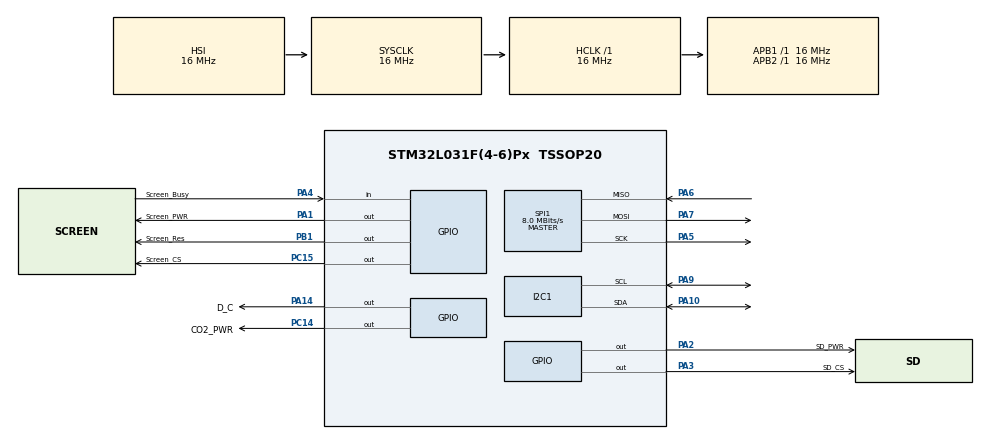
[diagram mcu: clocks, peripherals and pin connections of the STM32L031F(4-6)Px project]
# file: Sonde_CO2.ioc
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I2C1.Timing=0x00303D5B
Mcu.Family=STM32L0
Mcu.Name=STM32L031F(4-6)Px
Mcu.Package=TSSOP20
NVIC.RTC_IRQn=true\:0\:0\:false\:false\:true\:true\:true\:true
PA1.GPIO_Label=Screen_PWR
PA1.PinState=GPIO_PIN_SET
PA1.Signal=GPIO_Output
PA10.GPIO_Pu=GPIO_NOPULL
PA10.Mode=I2C
PA10.Signal=I2C1_SDA
PA14.GPIO_Label=D_C
PA14.PinState=GPIO_PIN_RESET
PA14.Signal=GPIO_Output
PA14.Stacked=true
PA2.GPIO_Label=SD_PWR
PA2.PinState=GPIO_PIN_SET
PA2.Signal=GPIO_Output
PA3.GPIO_Label=SD_CS
PA3.Signal=GPIO_Output
PA4.GPIO_Label=Screen_Busy
PA4.GPIO_PuPd=GPIO_PULLUP
PA4.Signal=GPIO_Input
PA5.Mode=Full_Duplex_Master
PA5.Signal=SPI1_SCK
PA6.Mode=Full_Duplex_Master
PA6.Signal=SPI1_MISO
PA7.Mode=Full_Duplex_Master
PA7.Signal=SPI1_MOSI
PA9.GPIO_Pu=GPIO_NOPULL
PA9.Mode=I2C
PA9.Signal=I2C1_SCL
PB1.GPIO_Label=Screen_Res
PB1.PinState=GPIO_PIN_RESET
PB1.Signal=GPIO_Output
PC14-OSC32_IN.GPIO_Label=CO2_PWR
PC14-OSC32_IN.GPIO_ModeDefaultOutputPP=GPIO_MODE_OUTPUT_PP
PC14-OSC32_IN.GPIO_PuPd=GPIO_NOPULL
PC14-OSC32_IN.PinState=GPIO_PIN_SET
PC14-OSC32_IN.Signal=GPIO_Output
PC15-OSC32_OUT.GPIO_Label=Screen_CS
PC15-OSC32_OUT.Signal=GPIO_Output
ProjectManager.HeapSize=0x200
ProjectManager.StackSize=0x400
ProjectManager.TargetToolchain=STM32CubeIDE
RCC.AHBFreq_Value=16000000
RCC.APB1Freq_Value=16000000
RCC.APB1TimFreq_Value=16000000
RCC.APB2Freq_Value=16000000
RCC.APB2TimFreq_Value=16000000
RCC.HCLKFreq_Value=16000000
RCC.HSE_VALUE=8000000
RCC.HSI16_VALUE=16000000
RCC.HSI_VALUE=16000000
RCC.LSE_VALUE=32768
RCC.MSIClockRange=RCC_MSIRANGE_6
RCC.MSI_VALUE=4194000
RCC.PLLDIV=RCC_PLLDIV_4
RCC.PLLMUL=RCC_PLLMUL_32
RCC.SYSCLKFreq_VALUE=16000000
RCC.SYSCLKSource=RCC_SYSCLKSOURCE_HSI
RCC.VCOOutputFreq_Value=512000000
RTC.WakeUpClock-WakeUp=RTC_WAKEUPCLOCK_CK_SPRE_16BITS
RTC.WakeUpCounter-WakeUp=5
SPI1.BaudRatePrescaler=SPI_BAUDRATEPRESCALER_2
SPI1.CalculateBaudRate=8.0 MBits/s
SPI1.Direction=SPI_DIRECTION_2LINES
SPI1.Mode=SPI_MODE_MASTER
SPI1.VirtualType=VM_MASTER
VP_RTC_VS_RTC_Activate.Mode=RTC_Enabled
VP_RTC_VS_RTC_WakeUp_intern.Mode=WakeUp
board=custom

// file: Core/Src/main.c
/* USER CODE BEGIN Header */
/**
  ******************************************************************************
  * @file           : main.c
  * @brief          : Main program body
  ******************************************************************************
  * @attention
  *
  * Copyright (c) 2024 STMicroelectronics.
  * All rights reserved.
  *
  * This software is licensed under terms that can be found in the LICENSE file
  * in the root directory of this software component.
  * If no LICENSE file comes with this software, it is provided AS-IS.
  *
  ******************************************************************************
  */

#include "Display_EPD_W21.h"
#include "Ap_29demo.h"
#include "Static_ressources.h"
#include "CO2_probe.h"
#include "fonts.h"

#include <string.h>

#define SCD_ADDRESS 0x62 << 1

/* USER CODE END Header */
#include "main.h"

I2C_HandleTypeDef hi2c1;

RTC_HandleTypeDef hrtc;

SPI_HandleTypeDef hspi1;

void SystemClock_Config(void);
static void MX_GPIO_Init(void);
static void MX_I2C1_Init(void);
static void MX_SPI1_Init(void);
static void MX_RTC_Init(void);

int main(void)
{

  /* MCU Configuration--------------------------------------------------------*/

  /* Reset of all peripherals, Initializes the Flash interface and the Systick. */
  HAL_Init();

  /* Configure the system clock */
  SystemClock_Config();

  /* Initialize all configured peripherals */
  MX_GPIO_Init();
  MX_I2C1_Init();
  MX_SPI1_Init();
  MX_RTC_Init();
  /* USER CODE BEGIN 2 */
  SCREEN_GPIO_Deact();

  uint8_t DrawMap[EPD_ARRAY];

  //memset(DrawMap,0xFF,sizeof(DrawMap));
  memcpy(DrawMap,Base_map,sizeof(Base_map));

  //HAL_GPIO_WritePin(GPIOC, CO2_PWR_Pin, GPIO_PIN_SET);

    SCREEN_GPIO_Act();

    HAL_Delay(1000);

	EPD_Init(); //Full screen refresh initialization.
	EPD_WhiteScreen_ALL(DrawMap); //To Display one image using full screen refresh.
	EPD_DeepSleep(); //Enter the sleep mode and please do not delete it, otherwise it will reduce the lifespan of the screen.

	SCREEN_GPIO_Deact();

	HAL_Delay(1000);

  /* USER CODE END 2 */

  /* Infinite loop */
  /* USER CODE BEGIN WHILE */
	unsigned int t = 0;

  while (1)
  {

		//UNCOMMENT THIS

		uint8_t response[9];
		HAL_GPIO_WritePin(GPIOC, CO2_PWR_Pin, GPIO_PIN_RESET); // pin power
		HAL_Delay(100);

		while(Send_I2C_Command(&hi2c1, SCD_ADDRESS, (uint16_t ) 0x21b1, 20)!= HAL_OK){HAL_Delay(50);};

		HAL_StatusTypeDef ans1 = HAL_ERROR;

		while( ans1 == HAL_ERROR)
		{
			Send_I2C_Command(&hi2c1, SCD_ADDRESS, (uint16_t ) 0xec05, 20);

			HAL_Delay(1);

			ans1 = HAL_I2C_Master_Receive(&hi2c1,SCD_ADDRESS, (uint8_t *) response,9, 20);
			HAL_Delay(50);
		}

		Send_I2C_Command(&hi2c1, SCD_ADDRESS, (uint16_t ) 0x3f86, 20);

		HAL_GPIO_WritePin(GPIOC, CO2_PWR_Pin, GPIO_PIN_SET); // pin power
//		//
//		//
//		//
//		//
		uint16_t CO2 = (response[0] << 8) | response[1];

		float T =  (response[3] << 8) | response[4];

		T = -45 + 175*T/65536;

		float H =  (response[6] << 8) | response[7];

		H = 100*H/65536;

		SCREEN_GPIO_Act();

		HAL_Delay(250);

		t = t+2;

		Display_Text(Zone_Write_nums(64,17,FONT_INFO,(int) T,0,0,4),DrawMap,Base_map );
		Display_Text(Zone_Write_nums(34,65,FONT_CO2,CO2,0,1,5),DrawMap,Base_map);
		Display_Text(Zone_Write_nums(20,17,FONT_INFO,(int) H,0,0,4),DrawMap,Base_map );

		Display_Text(Zone_Write_nums(118,83,FONT_TIME,t/60,0,0,5),DrawMap,Base_map ); //Heure
		Display_Text(Zone_Write_nums(81,83,FONT_TIME,t%60,0,0,2),DrawMap,Base_map ); //Minutes

		EPD_DeepSleep();
//
//

//
//		//--------------------------------------
//
	  HAL_GPIO_WritePin(GPIOC, CO2_PWR_Pin, GPIO_PIN_SET);
	  SCREEN_GPIO_Deact();

		HAL_SuspendTick();
		HAL_RTCEx_SetWakeUpTimer_IT(&hrtc, 600, RTC_WAKEUPCLOCK_CK_SPRE_16BITS);

		/* Enter STOP 2 mode */
		HAL_PWR_EnterSTOPMode(PWR_LOWPOWERREGULATOR_ON,  PWR_STOPENTRY_WFI);
		//HAL_PWR_EnterSTOPMode(PWR_MAINREGULATOR_ON,  PWR_STOPENTRY_WFI);

		//HAL_PWREx_EnterSTOP2Mode(PWR_STOPENTRY_WFI);
		HAL_RTCEx_DeactivateWakeUpTimer(&hrtc);
		SystemClock_Config();
		HAL_ResumeTick();

    /* USER CODE END WHILE */

  }
}

void SystemClock_Config(void)
{
  RCC_OscInitTypeDef RCC_OscInitStruct = {0};
  RCC_ClkInitTypeDef RCC_ClkInitStruct = {0};
  RCC_PeriphCLKInitTypeDef PeriphClkInit = {0};

  /** Configure the main internal regulator output voltage
  */
  __HAL_PWR_VOLTAGESCALING_CONFIG(PWR_REGULATOR_VOLTAGE_SCALE1);

  /** Initializes the RCC Oscillators according to the specified parameters
  * in the RCC_OscInitTypeDef structure.
  */
  RCC_OscInitStruct.OscillatorType = RCC_OSCILLATORTYPE_HSI|RCC_OSCILLATORTYPE_LSI;
  RCC_OscInitStruct.HSIState = RCC_HSI_ON;
  RCC_OscInitStruct.HSICalibrationValue = RCC_HSICALIBRATION_DEFAULT;
  RCC_OscInitStruct.LSIState = RCC_LSI_ON;
  RCC_OscInitStruct.PLL.PLLState = RCC_PLL_NONE;
  if (HAL_RCC_OscConfig(&RCC_OscInitStruct) != HAL_OK)
  {
    Error_Handler();
  }

  /** Initializes the CPU, AHB and APB buses clocks
  */
  RCC_ClkInitStruct.ClockType = RCC_CLOCKTYPE_HCLK|RCC_CLOCKTYPE_SYSCLK
                              |RCC_CLOCKTYPE_PCLK1|RCC_CLOCKTYPE_PCLK2;
  RCC_ClkInitStruct.SYSCLKSource = RCC_SYSCLKSOURCE_HSI;
  RCC_ClkInitStruct.AHBCLKDivider = RCC_SYSCLK_DIV1;
  RCC_ClkInitStruct.APB1CLKDivider = RCC_HCLK_DIV1;
  RCC_ClkInitStruct.APB2CLKDivider = RCC_HCLK_DIV1;

  if (HAL_RCC_ClockConfig(&RCC_ClkInitStruct, FLASH_LATENCY_0) != HAL_OK)
  {
    Error_Handler();
  }
  PeriphClkInit.PeriphClockSelection = RCC_PERIPHCLK_I2C1|RCC_PERIPHCLK_RTC;
  PeriphClkInit.I2c1ClockSelection = RCC_I2C1CLKSOURCE_PCLK1;
  PeriphClkInit.RTCClockSelection = RCC_RTCCLKSOURCE_LSI;
  if (HAL_RCCEx_PeriphCLKConfig(&PeriphClkInit) != HAL_OK)
  {
    Error_Handler();
  }
}

static void MX_I2C1_Init(void)
{

  hi2c1.Instance = I2C1;
  hi2c1.Init.Timing = 0x00303D5B;
  hi2c1.Init.OwnAddress1 = 0;
  hi2c1.Init.AddressingMode = I2C_ADDRESSINGMODE_7BIT;
  hi2c1.Init.DualAddressMode = I2C_DUALADDRESS_DISABLE;
  hi2c1.Init.OwnAddress2 = 0;
  hi2c1.Init.OwnAddress2Masks = I2C_OA2_NOMASK;
  hi2c1.Init.GeneralCallMode = I2C_GENERALCALL_DISABLE;
  hi2c1.Init.NoStretchMode = I2C_NOSTRETCH_DISABLE;
  if (HAL_I2C_Init(&hi2c1) != HAL_OK)
  {
    Error_Handler();
  }

  /** Configure Analogue filter
  */
  if (HAL_I2CEx_ConfigAnalogFilter(&hi2c1, I2C_ANALOGFILTER_ENABLE) != HAL_OK)
  {
    Error_Handler();
  }

  /** Configure Digital filter
  */
  if (HAL_I2CEx_ConfigDigitalFilter(&hi2c1, 0) != HAL_OK)
  {
    Error_Handler();
  }

}

static void MX_RTC_Init(void)
{

  /** Initialize RTC Only
  */
  hrtc.Instance = RTC;
  hrtc.Init.HourFormat = RTC_HOURFORMAT_24;
  hrtc.Init.AsynchPrediv = 127;
  hrtc.Init.SynchPrediv = 255;
  hrtc.Init.OutPut = RTC_OUTPUT_DISABLE;
  hrtc.Init.OutPutRemap = RTC_OUTPUT_REMAP_NONE;
  hrtc.Init.OutPutPolarity = RTC_OUTPUT_POLARITY_HIGH;
  hrtc.Init.OutPutType = RTC_OUTPUT_TYPE_OPENDRAIN;
  if (HAL_RTC_Init(&hrtc) != HAL_OK)
  {
    Error_Handler();
  }

  /** Enable the WakeUp
  */
  if (HAL_RTCEx_SetWakeUpTimer_IT(&hrtc, 5, RTC_WAKEUPCLOCK_CK_SPRE_16BITS) != HAL_OK)
  {
    Error_Handler();
  }

}

static void MX_SPI1_Init(void)
{

  /* SPI1 parameter configuration*/
  hspi1.Instance = SPI1;
  hspi1.Init.Mode = SPI_MODE_MASTER;
  hspi1.Init.Direction = SPI_DIRECTION_2LINES;
  hspi1.Init.DataSize = SPI_DATASIZE_8BIT;
  hspi1.Init.CLKPolarity = SPI_POLARITY_LOW;
  hspi1.Init.CLKPhase = SPI_PHASE_1EDGE;
  hspi1.Init.NSS = SPI_NSS_SOFT;
  hspi1.Init.BaudRatePrescaler = SPI_BAUDRATEPRESCALER_2;
  hspi1.Init.FirstBit = SPI_FIRSTBIT_MSB;
  hspi1.Init.TIMode = SPI_TIMODE_DISABLE;
  hspi1.Init.CRCCalculation = SPI_CRCCALCULATION_DISABLE;
  hspi1.Init.CRCPolynomial = 7;
  if (HAL_SPI_Init(&hspi1) != HAL_OK)
  {
    Error_Handler();
  }

}

static void MX_GPIO_Init(void)
{
  GPIO_InitTypeDef GPIO_InitStruct = {0};

  /* GPIO Ports Clock Enable */
  __HAL_RCC_GPIOC_CLK_ENABLE();
  __HAL_RCC_GPIOA_CLK_ENABLE();
  __HAL_RCC_GPIOB_CLK_ENABLE();

  /*Configure GPIO pin Output Level */
  HAL_GPIO_WritePin(CO2_PWR_GPIO_Port, CO2_PWR_Pin, GPIO_PIN_SET);

  /*Configure GPIO pin Output Level */
  HAL_GPIO_WritePin(Screen_CS_GPIO_Port, Screen_CS_Pin, GPIO_PIN_RESET);

  /*Configure GPIO pin Output Level */
  HAL_GPIO_WritePin(GPIOA, Screen_PWR_Pin|SD_PWR_Pin, GPIO_PIN_SET);

  /*Configure GPIO pin Output Level */
  HAL_GPIO_WritePin(GPIOA, SD_CS_Pin|D_C_Pin, GPIO_PIN_RESET);

  /*Configure GPIO pin Output Level */
  HAL_GPIO_WritePin(Screen_Res_GPIO_Port, Screen_Res_Pin, GPIO_PIN_RESET);

  /*Configure GPIO pins : CO2_PWR_Pin Screen_CS_Pin */
  GPIO_InitStruct.Pin = CO2_PWR_Pin|Screen_CS_Pin;
  GPIO_InitStruct.Mode = GPIO_MODE_OUTPUT_PP;
  GPIO_InitStruct.Pull = GPIO_NOPULL;
  GPIO_InitStruct.Speed = GPIO_SPEED_FREQ_LOW;
  HAL_GPIO_Init(GPIOC, &GPIO_InitStruct);

  /*Configure GPIO pins : PA0 PA13 */
  GPIO_InitStruct.Pin = GPIO_PIN_0|GPIO_PIN_13;
  GPIO_InitStruct.Mode = GPIO_MODE_ANALOG;
  GPIO_InitStruct.Pull = GPIO_NOPULL;
  HAL_GPIO_Init(GPIOA, &GPIO_InitStruct);

  /*Configure GPIO pins : Screen_PWR_Pin SD_PWR_Pin SD_CS_Pin D_C_Pin */
  GPIO_InitStruct.Pin = Screen_PWR_Pin|SD_PWR_Pin|SD_CS_Pin|D_C_Pin;
  GPIO_InitStruct.Mode = GPIO_MODE_OUTPUT_PP;
  GPIO_InitStruct.Pull = GPIO_NOPULL;
  GPIO_InitStruct.Speed = GPIO_SPEED_FREQ_LOW;
  HAL_GPIO_Init(GPIOA, &GPIO_InitStruct);

  /*Configure GPIO pin : Screen_Busy_Pin */
  GPIO_InitStruct.Pin = Screen_Busy_Pin;
  GPIO_InitStruct.Mode = GPIO_MODE_INPUT;
  GPIO_InitStruct.Pull = GPIO_PULLUP;
  HAL_GPIO_Init(Screen_Busy_GPIO_Port, &GPIO_InitStruct);

  /*Configure GPIO pin : Screen_Res_Pin */
  GPIO_InitStruct.Pin = Screen_Res_Pin;
  GPIO_InitStruct.Mode = GPIO_MODE_OUTPUT_PP;
  GPIO_InitStruct.Pull = GPIO_NOPULL;
  GPIO_InitStruct.Speed = GPIO_SPEED_FREQ_LOW;
  HAL_GPIO_Init(Screen_Res_GPIO_Port, &GPIO_InitStruct);

}

void Error_Handler(void)
{
  __disable_irq();
  while (1)
  {
  }
}
